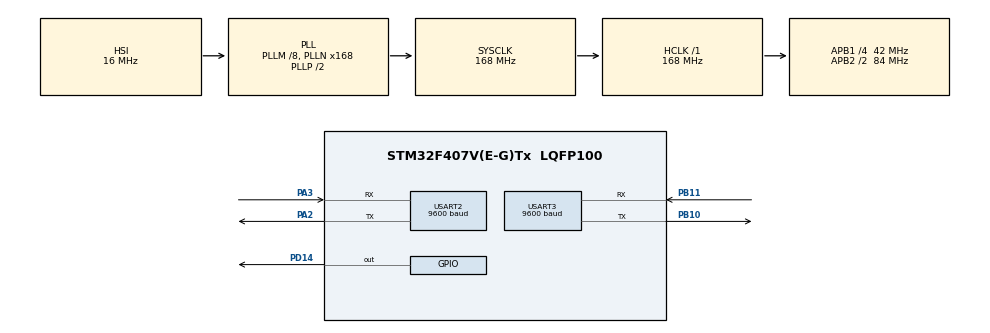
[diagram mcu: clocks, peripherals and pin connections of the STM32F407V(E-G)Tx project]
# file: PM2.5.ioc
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Mcu.Family=STM32F4
Mcu.Name=STM32F407V(E-G)Tx
Mcu.Package=LQFP100
NVIC.PriorityGroup=NVIC_PRIORITYGROUP_4
PA2.Mode=Asynchronous
PA2.Signal=USART2_TX
PA3.Mode=Asynchronous
PA3.Signal=USART2_RX
PB10.Mode=Asynchronous
PB10.Signal=USART3_TX
PB11.Mode=Asynchronous
PB11.Signal=USART3_RX
PD14.Signal=GPIO_Output
ProjectManager.HeapSize=0x200
ProjectManager.StackSize=0x400
ProjectManager.TargetToolchain=STM32CubeIDE
RCC.48MHZClocksFreq_Value=84000000
RCC.AHBFreq_Value=168000000
RCC.APB1CLKDivider=RCC_HCLK_DIV4
RCC.APB1Freq_Value=42000000
RCC.APB1TimFreq_Value=84000000
RCC.APB2CLKDivider=RCC_HCLK_DIV2
RCC.APB2Freq_Value=84000000
RCC.APB2TimFreq_Value=168000000
RCC.CortexFreq_Value=168000000
RCC.HCLKFreq_Value=168000000
RCC.HSE_VALUE=25000000
RCC.HSI_VALUE=16000000
RCC.LSE_VALUE=32768
RCC.PLLM=8
RCC.PLLN=168
RCC.SYSCLKFreq_VALUE=168000000
RCC.SYSCLKSource=RCC_SYSCLKSOURCE_PLLCLK
RCC.VCOOutputFreq_Value=336000000
USART2.BaudRate=9600
USART2.VirtualMode=VM_ASYNC
USART3.BaudRate=9600
USART3.VirtualMode=VM_ASYNC
board=STM32F407G-DISC1

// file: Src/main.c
/* USER CODE BEGIN Header */
/**
  ******************************************************************************
  * @file           : main.c
  * @brief          : Main program body
  ******************************************************************************
  * @attention
  *
  * <h2><center>&copy; Copyright (c) 2019 STMicroelectronics.
  * All rights reserved.</center></h2>
  *
  * This software component is licensed by ST under BSD 3-Clause license,
  * the "License"; You may not use this file except in compliance with the
  * License. You may obtain a copy of the License at:
  *                        opensource.org/licenses/BSD-3-Clause
  *
  ******************************************************************************
  */
/* USER CODE END Header */

#include "main.h"

UART_HandleTypeDef huart2;
UART_HandleTypeDef huart3;

void SystemClock_Config(void);
static void MX_GPIO_Init(void);
static void MX_USART2_UART_Init(void);
static void MX_USART3_UART_Init(void);

/* USER CODE BEGIN 0 */
uint16_t pm10 = 0;
uint16_t pm25 = 0;
uint8_t i = 0;
char previousValue;
char value;
char buff[13];
//char buff[] = "1234";
/* USER CODE END 0 */

int main(void)
{

  /* MCU Configuration--------------------------------------------------------*/

  /* Reset of all peripherals, Initializes the Flash interface and the Systick. */
  HAL_Init();

  /* Configure the system clock */
  SystemClock_Config();

  /* Initialize all configured peripherals */
  MX_GPIO_Init();
  MX_USART2_UART_Init();
  MX_USART3_UART_Init();

  /* Infinite loop */
  /* USER CODE BEGIN WHILE */
  while (1)
  {

	  if(HAL_UART_Receive(&huart2, &value, 1, 1000) == HAL_OK){
	  	  		  if((i==0 && value != 0x42) || (i == 1 && value != 0x4d)){
	  	  			  continue;
	  	  		  }
	  	  		  else if (i == 4 || i == 6 || i == 8 || i == 10 || i == 12 || i == 14) {
	  	  			  previousValue = value;
	  	  		  }
	  	  		  else if (i == 5){
	  	  			  pm10 = 256 * previousValue + value;
	  	  		  }
	  	  		  else if (i == 7){
	  	  			  pm25 = 256 * previousValue + value;
	  	  		  }
	  	  		  else if (i >= 31){
	  	  			  i = -1;
	  	  			  sprintf(buff, "!%4d;%4d", pm10, pm25);
	  	  			  HAL_UART_Transmit(&huart3, buff, strlen(buff), 1000);
	  	  			  HAL_GPIO_TogglePin(GPIOD, GPIO_PIN_14);
	  	  		  }
	  	  		  i++;
	  	  	  }
    /* USER CODE END WHILE */

  }
}

void SystemClock_Config(void)
{
  RCC_OscInitTypeDef RCC_OscInitStruct = {0};
  RCC_ClkInitTypeDef RCC_ClkInitStruct = {0};

  /** Configure the main internal regulator output voltage
  */
  __HAL_RCC_PWR_CLK_ENABLE();
  __HAL_PWR_VOLTAGESCALING_CONFIG(PWR_REGULATOR_VOLTAGE_SCALE1);
  /** Initializes the CPU, AHB and APB busses clocks
  */
  RCC_OscInitStruct.OscillatorType = RCC_OSCILLATORTYPE_HSI;
  RCC_OscInitStruct.HSIState = RCC_HSI_ON;
  RCC_OscInitStruct.HSICalibrationValue = RCC_HSICALIBRATION_DEFAULT;
  RCC_OscInitStruct.PLL.PLLState = RCC_PLL_ON;
  RCC_OscInitStruct.PLL.PLLSource = RCC_PLLSOURCE_HSI;
  RCC_OscInitStruct.PLL.PLLM = 8;
  RCC_OscInitStruct.PLL.PLLN = 168;
  RCC_OscInitStruct.PLL.PLLP = RCC_PLLP_DIV2;
  RCC_OscInitStruct.PLL.PLLQ = 4;
  if (HAL_RCC_OscConfig(&RCC_OscInitStruct) != HAL_OK)
  {
    Error_Handler();
  }
  /** Initializes the CPU, AHB and APB busses clocks
  */
  RCC_ClkInitStruct.ClockType = RCC_CLOCKTYPE_HCLK|RCC_CLOCKTYPE_SYSCLK
                              |RCC_CLOCKTYPE_PCLK1|RCC_CLOCKTYPE_PCLK2;
  RCC_ClkInitStruct.SYSCLKSource = RCC_SYSCLKSOURCE_PLLCLK;
  RCC_ClkInitStruct.AHBCLKDivider = RCC_SYSCLK_DIV1;
  RCC_ClkInitStruct.APB1CLKDivider = RCC_HCLK_DIV4;
  RCC_ClkInitStruct.APB2CLKDivider = RCC_HCLK_DIV2;

  if (HAL_RCC_ClockConfig(&RCC_ClkInitStruct, FLASH_LATENCY_5) != HAL_OK)
  {
    Error_Handler();
  }
}

static void MX_USART2_UART_Init(void)
{

  huart2.Instance = USART2;
  huart2.Init.BaudRate = 9600;
  huart2.Init.WordLength = UART_WORDLENGTH_8B;
  huart2.Init.StopBits = UART_STOPBITS_1;
  huart2.Init.Parity = UART_PARITY_NONE;
  huart2.Init.Mode = UART_MODE_TX_RX;
  huart2.Init.HwFlowCtl = UART_HWCONTROL_NONE;
  huart2.Init.OverSampling = UART_OVERSAMPLING_16;
  if (HAL_UART_Init(&huart2) != HAL_OK)
  {
    Error_Handler();
  }

}

static void MX_USART3_UART_Init(void)
{

  huart3.Instance = USART3;
  huart3.Init.BaudRate = 9600;
  huart3.Init.WordLength = UART_WORDLENGTH_8B;
  huart3.Init.StopBits = UART_STOPBITS_1;
  huart3.Init.Parity = UART_PARITY_NONE;
  huart3.Init.Mode = UART_MODE_TX_RX;
  huart3.Init.HwFlowCtl = UART_HWCONTROL_NONE;
  huart3.Init.OverSampling = UART_OVERSAMPLING_16;
  if (HAL_UART_Init(&huart3) != HAL_OK)
  {
    Error_Handler();
  }

}

static void MX_GPIO_Init(void)
{
  GPIO_InitTypeDef GPIO_InitStruct = {0};

  /* GPIO Ports Clock Enable */
  __HAL_RCC_GPIOA_CLK_ENABLE();
  __HAL_RCC_GPIOB_CLK_ENABLE();
  __HAL_RCC_GPIOD_CLK_ENABLE();

  /*Configure GPIO pin Output Level */
  HAL_GPIO_WritePin(GPIOD, GPIO_PIN_14, GPIO_PIN_RESET);

  /*Configure GPIO pin : PD14 */
  GPIO_InitStruct.Pin = GPIO_PIN_14;
  GPIO_InitStruct.Mode = GPIO_MODE_OUTPUT_PP;
  GPIO_InitStruct.Pull = GPIO_NOPULL;
  GPIO_InitStruct.Speed = GPIO_SPEED_FREQ_LOW;
  HAL_GPIO_Init(GPIOD, &GPIO_InitStruct);

}

void Error_Handler(void)
{
}

/************************ (C) COPYRIGHT STMicroelectronics *****END OF FILE****/
